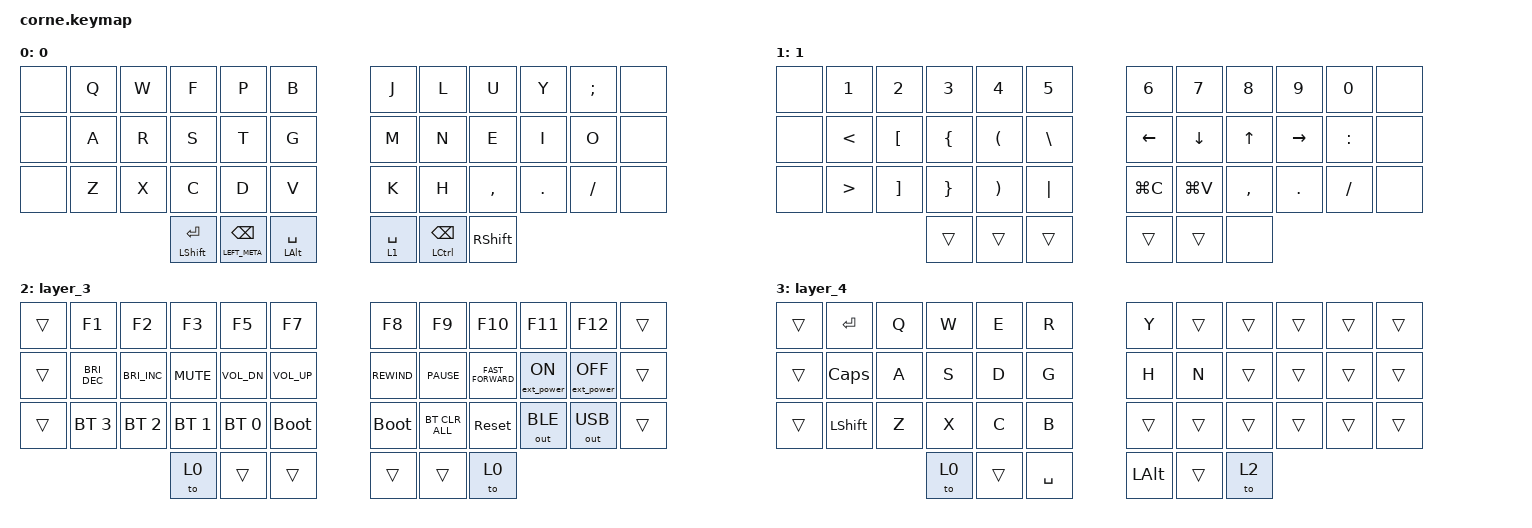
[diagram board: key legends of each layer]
/*
 * Copyright (c) 2020 The ZMK Contributors
 *
 * SPDX-License-Identifier: MIT
 */

#include <dt-bindings/zmk/mouse.h>
#include <behaviors.dtsi>
#include <dt-bindings/zmk/bt.h>
#include <dt-bindings/zmk/ext_power.h>
#include <dt-bindings/zmk/keys.h>
#include <dt-bindings/zmk/outputs.h>
#include <dt-bindings/zmk/pointing.h>

#define DEFAULT_L 0
#define SYMBOLS_L 1
#define ARROWS_L  2
#define NUMBERS_L 3

/ {
    behaviors {
        hm: homerow_mods {
            compatible = "zmk,behavior-hold-tap";
            label = "HOMEROW_MODS";
            #binding-cells = <2>;
            tapping-term-ms = <300>;
            quick-tap-ms = <200>;
            flavor = "tap-preferred";
            bindings = <&kp>, <&kp>;
        };
    };

    combos {
        compatible = "zmk,combos";

        a {
            bindings = <&kp GRAVE>;
            key-positions = <2 1>;
        };

        b {
            bindings = <&kp ESCAPE>;
            key-positions = <14 13>;
        };

        c {
            bindings = <&kp TAB>;
            key-positions = <26 25>;
        };

        d {
            bindings = <&kp BACKSPACE>;
            key-positions = <10 9>;
        };

        f {
            bindings = <&kp MINUS>;
            key-positions = <19 20>;
        };

        k {
            bindings = <&kp EQUAL>;
            key-positions = <19 21>;
        };

        l {
            bindings = <&kp LS(LA(LC(LEFT_GUI)))>;
            key-positions = <38 39>;
        };

        e {
            bindings = <&kp DEL>;
            key-positions = <37 40>;
        };

        ret {
            bindings = <&kp RET>;
            key-positions = <22 21>;
        };

        quotes {
            bindings = <&kp SINGLE_QUOTE>;
            key-positions = <34 22>;
        };

        at {
            bindings = <&kp AT_SIGN>;
            key-positions = <2 14>;
        };

        hash {
            bindings = <&kp HASH>;
            key-positions = <3 15>;
        };

        exc {
            bindings = <&kp EXCLAMATION>;
            key-positions = <1 13>;
        };

        gaming {
            bindings = <&to 2>;
            key-positions = <40 9 20 10>;
        };

        fn {
            bindings = <&to 3>;
            key-positions = <37 15 1 2>;
        };

        scu {
            bindings = <&mkp MB5>;
            key-positions = <27 29>;
        };

        scd {
            bindings = <&mkp MB4>;
            key-positions = <27 28>;
        };

        dolla {
            bindings = <&kp DOLLAR>;
            key-positions = <4 16>;
        };

        pe {
            bindings = <&kp PERCENT>;
            key-positions = <5 17>;
        };

        ca {
            bindings = <&kp CARET>;
            key-positions = <6 18>;
        };

        amp {
            bindings = <&kp AMPERSAND>;
            key-positions = <7 19>;
        };

        sta {
            bindings = <&kp ASTERISK>;
            key-positions = <8 20>;
        };

        undo {
            bindings = <&kp LG(Z)>;
            key-positions = <30 32>;
        };

        leftpar {
            bindings = <&kp LEFT_PARENTHESIS>;
            key-positions = <9 21>;
        };

        rightpar {
            bindings = <&kp RIGHT_PARENTHESIS>;
            key-positions = <10 22>;
        };

        leftbr {
            bindings = <&kp LEFT_BRACKET>;
            key-positions = <13 25>;
        };

        rightbr {
            bindings = <&kp RIGHT_BRACKET>;
            key-positions = <14 26>;
        };
    };

    keymap {
        compatible = "zmk,keymap";

        default_layer {
            label = "0";
            bindings = <
&none  &kp Q  &kp W  &kp F               &kp P                    &kp B                 &kp J        &kp L                &kp U            &kp Y    &kp SEMI  &none
&none  &kp A  &kp R  &kp S               &kp T                    &kp G                 &kp M        &kp N                &kp E            &kp I    &kp O     &none
&none  &kp Z  &kp X  &kp C               &kp D                    &kp V                 &kp K        &kp H                &kp COMMA        &kp DOT  &kp FSLH  &none
                     &mt LEFT_SHIFT RET  &mt LEFT_META BACKSPACE  &mt LEFT_ALT SPACE    &lt 1 SPACE  &mt LCTRL BACKSPACE  &kp RIGHT_SHIFT
            >;
        };

        number_layer {
            label = "1";
            bindings = <
&none  &kp N1            &kp N2             &kp N3           &kp N4                 &kp N5           &kp N6          &kp N7     &kp N8        &kp N9      &kp N0     &none
&none  &kp LT            &kp LEFT_BRACKET   &kp LEFT_BRACE   &kp LEFT_PARENTHESIS   &kp BACKSLASH    &kp LEFT_ARROW  &kp DOWN   &kp UP_ARROW  &kp RIGHT   &kp COLON  &none
&none  &kp GREATER_THAN  &kp RIGHT_BRACKET  &kp RIGHT_BRACE  &kp RIGHT_PARENTHESIS  &kp PIPE         &kp LG(C)       &kp LG(V)  &kp COMMA     &kp PERIOD  &kp SLASH  &none
                                            &trans           &trans                 &trans           &trans          &trans     &none
            >;
        };

        layer_3 {
            bindings = <
&trans  &kp F1                &kp F2                &kp F3        &kp F5        &kp F7             &kp F8        &kp F9          &kp F10             &kp F11           &kp F12            &trans
&trans  &kp C_BRIGHTNESS_DEC  &kp C_BRIGHTNESS_INC  &kp K_MUTE    &kp C_VOL_DN  &kp C_VOLUME_UP    &kp C_REWIND  &kp C_PAUSE     &kp C_FAST_FORWARD  &ext_power EP_ON  &ext_power EP_OFF  &trans
&trans  &bt BT_SEL 3          &bt BT_SEL 2          &bt BT_SEL 1  &bt BT_SEL 0  &bootloader        &bootloader   &bt BT_CLR_ALL  &sys_reset          &out OUT_BLE      &out OUT_USB       &trans
                                                    &to 0         &trans        &trans             &trans        &trans          &to 0
            >;
        };

        layer_4 {
            bindings = <
&trans  &kp ENTER  &kp Q  &kp W  &kp E   &kp R        &kp Y         &trans  &trans  &trans  &trans  &trans
&trans  &kp CAPS   &kp A  &kp S  &kp D   &kp G        &kp H         &kp N   &trans  &trans  &trans  &trans
&trans  &kp LSHFT  &kp Z  &kp X  &kp C   &kp B        &trans        &trans  &trans  &trans  &trans  &trans
                          &to 0  &trans  &kp SPACE    &kp LEFT_ALT  &trans  &to 2
            >;
        };
    };
};
